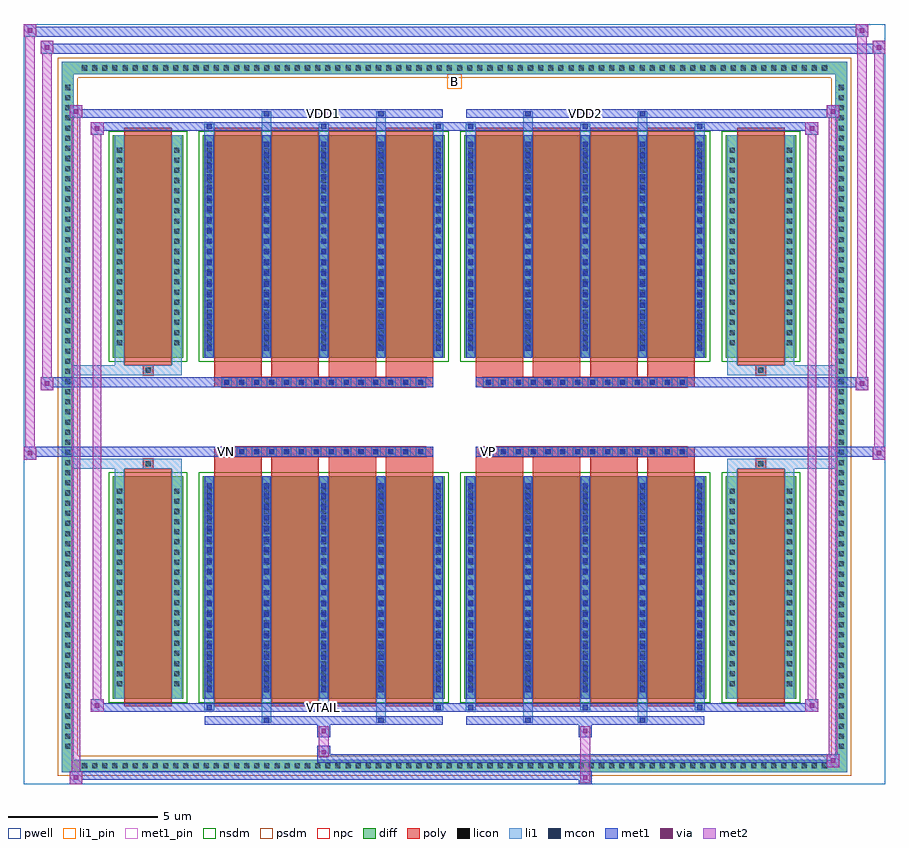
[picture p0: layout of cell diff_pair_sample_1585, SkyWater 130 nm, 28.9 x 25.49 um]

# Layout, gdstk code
import gdstk
lib = gdstk.Library(unit=1e-6, precision=5e-09)
def R(c, l, rs):  # rectangles x0, y0, x1, y1
    for r in rs: c.add(gdstk.rectangle(r[:2], r[2:], *l))
def A(c, l, x, y, w, h, nx, ny, dx, dy):  # array of equal rectangles
    R(c, l, [(x+i*dx, y+j*dy, x+i*dx+w, y+j*dy+h) for i in range(nx) for j in range(ny)])
def P(c, l, *ps):  # polygons
    for p in ps: c.add(gdstk.Polygon(p, *l))
pwell = (64, 44)
diff = (65, 20)
poly = (66, 20)
licon = (66, 44)
li1_pin = (67, 16)
li1 = (67, 20)
mcon = (67, 44)
met1_pin = (68, 16)
met1 = (68, 20)
via = (68, 44)
met2 = (69, 20)
nsdm = (93, 44)
psdm = (94, 20)
npc = (95, 20)

diff_pair_sample_1585 = lib.new_cell('diff_pair_sample_1585')
R(diff_pair_sample_1585, pwell, [(-14.45,-12.31,14.45,13.18), (-11.77,-10.5,-0.01,-0.8), (0.01,-10.5,11.77,-0.8), (-11.77,0.8,-0.01,10.5), (0.01,0.8,11.77,10.5)])
A(diff_pair_sample_1585, diff, -12.615, -11.91, 0.41, 0.41, 74, 2, 0.34, 23.41)
A(diff_pair_sample_1585, diff, -13.18, -11.255, 0.41, 0.41, 1, 66, 0, 0.34)
A(diff_pair_sample_1585, diff, 12.77, -11.255, 0.41, 0.41, 1, 66, 0, 0.34)
R(diff_pair_sample_1585, diff, [(-12.615,-11.91,12.615,-11.5), (-13.18,-11.255,-12.77,11.255), (12.77,-11.255,13.18,11.255), (-11.46,-9.455,-9.09,-1.985), (-8.45,-9.455,-0.32,-1.985), (0.32,-9.455,8.45,-1.985), (9.09,-9.455,11.46,-1.985), (-11.46,1.985,-9.09,9.455), (-8.45,1.985,-0.32,9.455), (0.32,1.985,8.45,9.455), (9.09,1.985,11.46,9.455), (-12.615,11.5,12.615,11.91)])
P(diff_pair_sample_1585, diff, [(13.18,11.91),(-13.18,11.91),(-13.18,-11.5),(-12.77,-11.5),(-12.77,11.5),(12.77,11.5),(12.77,-11.5),(-12.77,-11.5),(-13.18,-11.5),(-13.18,-11.91),(13.18,-11.91)])
A(diff_pair_sample_1585, poly, -8.06, -9.705, 1.59, 7.97, 4, 2, 1.92, 11.44)
A(diff_pair_sample_1585, poly, 0.71, -9.705, 1.59, 7.97, 4, 2, 1.92, 11.44)
A(diff_pair_sample_1585, poly, -8.06, -1.735, 1.59, 0.405, 4, 2, 1.92, 3.065)
A(diff_pair_sample_1585, poly, 0.71, -1.735, 1.59, 0.405, 4, 2, 1.92, 3.065)
A(diff_pair_sample_1585, poly, -7.8, -1.33, 0.33, 0.33, 14, 2, 0.5, 2.33)
A(diff_pair_sample_1585, poly, 0.97, -1.33, 0.33, 0.33, 14, 2, 0.5, 2.33)
R(diff_pair_sample_1585, poly, [(-11.07,-9.705,-9.48,-1.735), (9.48,-9.705,11.07,-1.735), (-10.44,-1.735,-10.11,-1.405), (-10.44,-1.735,-10.11,-1.405), (10.11,-1.735,10.44,-1.405), (10.11,-1.735,10.44,-1.405), (-8.06,-1.33,-0.71,-1), (0.71,-1.33,8.06,-1), (-8.06,1,-0.71,1.33), (0.71,1,8.06,1.33), (-10.44,1.405,-10.11,1.735), (-10.44,1.405,-10.11,1.735), (10.11,1.405,10.44,1.735), (10.11,1.405,10.44,1.735), (-11.07,1.735,-9.48,9.705), (9.48,1.735,11.07,9.705)])
A(diff_pair_sample_1585, licon, -12.495, -11.79, 0.17, 0.17, 74, 2, 0.34, 23.41)
A(diff_pair_sample_1585, licon, -13.06, -11.135, 0.17, 0.17, 1, 66, 0, 0.34)
A(diff_pair_sample_1585, licon, 12.89, -11.135, 0.17, 0.17, 1, 66, 0, 0.34)
A(diff_pair_sample_1585, licon, -11.32, -9.035, 0.17, 0.17, 1, 20, 0, 0.34)
A(diff_pair_sample_1585, licon, -9.4, -9.035, 0.17, 0.17, 1, 20, 0, 0.34)
A(diff_pair_sample_1585, licon, -8.31, -9.035, 0.17, 0.17, 5, 20, 1.92, 0.34)
A(diff_pair_sample_1585, licon, 0.46, -9.035, 0.17, 0.17, 5, 20, 1.92, 0.34)
A(diff_pair_sample_1585, licon, 9.23, -9.035, 0.17, 0.17, 1, 20, 0, 0.34)
A(diff_pair_sample_1585, licon, 11.15, -9.035, 0.17, 0.17, 1, 20, 0, 0.34)
A(diff_pair_sample_1585, licon, -7.72, -1.25, 0.17, 0.17, 14, 2, 0.5, 2.33)
A(diff_pair_sample_1585, licon, 1.05, -1.25, 0.17, 0.17, 14, 2, 0.5, 2.33)
A(diff_pair_sample_1585, licon, -11.32, 2.405, 0.17, 0.17, 1, 20, 0, 0.34)
A(diff_pair_sample_1585, licon, -9.4, 2.405, 0.17, 0.17, 1, 20, 0, 0.34)
A(diff_pair_sample_1585, licon, -8.31, 2.405, 0.17, 0.17, 5, 20, 1.92, 0.34)
A(diff_pair_sample_1585, licon, 0.46, 2.405, 0.17, 0.17, 5, 20, 1.92, 0.34)
A(diff_pair_sample_1585, licon, 9.23, 2.405, 0.17, 0.17, 1, 20, 0, 0.34)
A(diff_pair_sample_1585, licon, 11.15, 2.405, 0.17, 0.17, 1, 20, 0, 0.34)
R(diff_pair_sample_1585, licon, [(-10.36,-1.655,-10.19,-1.485), (10.19,-1.655,10.36,-1.485), (-10.36,1.485,-10.19,1.655), (10.19,1.485,10.36,1.655)])
R(diff_pair_sample_1585, li1_pin, [(-0.25,11,0.25,11.5)])
A(diff_pair_sample_1585, li1, -12.575, -11.87, 0.33, 0.33, 74, 2, 0.34, 23.41)
A(diff_pair_sample_1585, li1, -13.14, -11.215, 0.33, 0.33, 1, 66, 0, 0.34)
A(diff_pair_sample_1585, li1, 12.81, -11.215, 0.33, 0.33, 1, 66, 0, 0.34)
A(diff_pair_sample_1585, li1, -8.39, -9.83, 0.33, 0.375, 3, 2, 3.84, 19.285)
A(diff_pair_sample_1585, li1, -8.31, -9.83, 0.17, 0.17, 3, 2, 3.84, 19.49)
A(diff_pair_sample_1585, li1, 0.38, -9.83, 0.33, 0.375, 3, 2, 3.84, 19.285)
A(diff_pair_sample_1585, li1, 0.46, -9.83, 0.17, 0.17, 3, 2, 3.84, 19.49)
A(diff_pair_sample_1585, li1, -8.39, -9.455, 0.33, 7.47, 5, 2, 1.92, 11.44)
A(diff_pair_sample_1585, li1, 0.38, -9.455, 0.33, 7.47, 5, 2, 1.92, 11.44)
A(diff_pair_sample_1585, li1, -8.31, -9.225, 0.17, 0.17, 5, 20, 1.92, 0.36)
A(diff_pair_sample_1585, li1, -8.31, -9.225, 0.17, 7.01, 5, 2, 1.92, 11.44)
A(diff_pair_sample_1585, li1, 0.46, -9.225, 0.17, 0.17, 5, 20, 1.92, 0.36)
A(diff_pair_sample_1585, li1, 0.46, -9.225, 0.17, 7.01, 5, 2, 1.92, 11.44)
A(diff_pair_sample_1585, li1, -11.4, -9.115, 0.33, 0.33, 1, 20, 0, 0.34)
A(diff_pair_sample_1585, li1, -9.48, -9.115, 0.33, 0.33, 1, 20, 0, 0.34)
A(diff_pair_sample_1585, li1, -8.39, -9.115, 0.33, 0.33, 5, 20, 1.92, 0.34)
A(diff_pair_sample_1585, li1, 0.38, -9.115, 0.33, 0.33, 5, 20, 1.92, 0.34)
A(diff_pair_sample_1585, li1, 9.15, -9.115, 0.33, 0.33, 1, 20, 0, 0.34)
A(diff_pair_sample_1585, li1, 11.07, -9.115, 0.33, 0.33, 1, 20, 0, 0.34)
A(diff_pair_sample_1585, li1, -7.8, -1.33, 0.33, 0.33, 14, 2, 0.5, 2.33)
A(diff_pair_sample_1585, li1, 0.97, -1.33, 0.33, 0.33, 14, 2, 0.5, 2.33)
A(diff_pair_sample_1585, li1, -8.31, 2.215, 0.17, 0.17, 5, 20, 1.92, 0.36)
A(diff_pair_sample_1585, li1, 0.46, 2.215, 0.17, 0.17, 5, 20, 1.92, 0.36)
A(diff_pair_sample_1585, li1, -11.4, 2.325, 0.33, 0.33, 1, 20, 0, 0.34)
A(diff_pair_sample_1585, li1, -9.48, 2.325, 0.33, 0.33, 1, 20, 0, 0.34)
A(diff_pair_sample_1585, li1, -8.39, 2.325, 0.33, 0.33, 5, 20, 1.92, 0.34)
A(diff_pair_sample_1585, li1, 0.38, 2.325, 0.33, 0.33, 5, 20, 1.92, 0.34)
A(diff_pair_sample_1585, li1, 9.15, 2.325, 0.33, 0.33, 1, 20, 0, 0.34)
A(diff_pair_sample_1585, li1, 11.07, 2.325, 0.33, 0.33, 1, 20, 0, 0.34)
R(diff_pair_sample_1585, li1, [(-13.18,-11.91,-12.77,-11.5), (-13.18,-11.91,-12.77,-11.5), (-12.77,-11.91,12.77,-11.5), (12.77,-11.91,13.18,-11.5), (12.77,-11.91,13.18,-11.5), (-13.18,-11.5,-12.77,11.5), (12.77,-11.5,13.18,11.5), (-6.47,-10.26,-6.14,-9.455), (-6.39,-10.26,-6.22,-10.09), (-2.63,-10.26,-2.3,-9.455), (-2.55,-10.26,-2.38,-10.09), (2.3,-10.26,2.63,-9.455), (2.38,-10.26,2.55,-10.09), (6.14,-10.26,6.47,-9.455), (6.22,-10.26,6.39,-10.09), (-11.4,-9.455,-11.07,-1.985), (-9.48,-9.455,-9.15,-1.985), (9.15,-9.455,9.48,-1.985), (11.07,-9.455,11.4,-1.985), (-11.4,-1.985,-11.07,-1.405), (-9.48,-1.985,-9.15,-1.405), (9.15,-1.985,9.48,-1.405), (11.07,-1.985,11.4,-1.405), (-13.18,-1.735,-10.44,-1.405), (-11.4,-1.735,-10.44,-1.405), (-10.44,-1.735,-10.11,-1.405), (-10.11,-1.735,-9.15,-1.405), (9.15,-1.735,10.11,-1.405), (10.11,-1.735,10.44,-1.405), (10.11,-1.735,13.18,-1.405), (10.44,-1.735,11.4,-1.405), (-13.18,1.405,-10.44,1.735), (-11.4,1.405,-10.44,1.735), (-11.4,1.405,-11.07,1.985), (-10.44,1.405,-10.11,1.735), (-10.11,1.405,-9.15,1.735), (-9.48,1.405,-9.15,1.985), (9.15,1.405,10.11,1.735), (9.15,1.405,9.48,1.985), (10.11,1.405,10.44,1.735), (10.11,1.405,13.18,1.735), (10.44,1.405,11.4,1.735), (11.07,1.405,11.4,1.985), (-11.4,1.985,-11.07,9.455), (-9.48,1.985,-9.15,9.455), (9.15,1.985,9.48,9.455), (11.07,1.985,11.4,9.455), (-6.47,9.455,-6.14,10.26), (-2.63,9.455,-2.3,10.26), (2.3,9.455,2.63,10.26), (6.14,9.455,6.47,10.26), (-6.39,10.09,-6.22,10.26), (-2.55,10.09,-2.38,10.26), (2.38,10.09,2.55,10.26), (6.22,10.09,6.39,10.26), (-13.18,11.5,-12.77,11.91), (-13.18,11.5,-12.77,11.91), (-12.77,11.5,12.77,11.91), (12.77,11.5,13.18,11.91), (12.77,11.5,13.18,11.91)])
A(diff_pair_sample_1585, mcon, -8.31, -9.83, 0.17, 0.17, 3, 2, 3.84, 19.49)
A(diff_pair_sample_1585, mcon, 0.46, -9.83, 0.17, 0.17, 3, 2, 3.84, 19.49)
A(diff_pair_sample_1585, mcon, -8.31, -9.225, 0.17, 0.17, 5, 20, 1.92, 0.36)
A(diff_pair_sample_1585, mcon, 0.46, -9.225, 0.17, 0.17, 5, 20, 1.92, 0.36)
A(diff_pair_sample_1585, mcon, -7.72, -1.25, 0.17, 0.17, 14, 2, 0.5, 2.33)
A(diff_pair_sample_1585, mcon, 1.05, -1.25, 0.17, 0.17, 14, 2, 0.5, 2.33)
A(diff_pair_sample_1585, mcon, -8.31, 2.215, 0.17, 0.17, 5, 20, 1.92, 0.36)
A(diff_pair_sample_1585, mcon, 0.46, 2.215, 0.17, 0.17, 5, 20, 1.92, 0.36)
R(diff_pair_sample_1585, mcon, [(-6.39,-10.26,-6.22,-10.09), (-2.55,-10.26,-2.38,-10.09), (2.38,-10.26,2.55,-10.09), (6.22,-10.26,6.39,-10.09), (-6.39,10.09,-6.22,10.26), (-2.55,10.09,-2.38,10.26), (2.38,10.09,2.55,10.26), (6.22,10.09,6.39,10.26)])
R(diff_pair_sample_1585, met1_pin, [(-4.52,-9.87,-4.25,-9.6), (-7.77,-1.29,-7.5,-1.02), (1,-1.29,1.27,-1.02), (-4.52,10.05,-4.25,10.32), (4.25,10.05,4.52,10.32)])
A(diff_pair_sample_1585, met1, -8.37, -9.89, 0.29, 0.29, 3, 2, 3.84, 19.49)
A(diff_pair_sample_1585, met1, 0.4, -9.89, 0.29, 0.29, 3, 2, 3.84, 19.49)
A(diff_pair_sample_1585, met1, -8.37, -9.455, 0.29, 7.47, 5, 2, 1.92, 11.44)
A(diff_pair_sample_1585, met1, 0.4, -9.455, 0.29, 7.47, 5, 2, 1.92, 11.44)
A(diff_pair_sample_1585, met1, -8.37, -9.285, 0.29, 0.29, 5, 20, 1.92, 0.36)
A(diff_pair_sample_1585, met1, 0.4, -9.285, 0.29, 0.29, 5, 20, 1.92, 0.36)
A(diff_pair_sample_1585, met1, -7.78, -1.31, 0.29, 0.29, 14, 2, 0.5, 2.33)
A(diff_pair_sample_1585, met1, 0.99, -1.31, 0.29, 0.29, 14, 2, 0.5, 2.33)
A(diff_pair_sample_1585, met1, -8.37, 2.155, 0.29, 0.29, 5, 20, 1.92, 0.36)
A(diff_pair_sample_1585, met1, 0.4, 2.155, 0.29, 0.29, 5, 20, 1.92, 0.36)
R(diff_pair_sample_1585, met1, [(-12.91,-12.31,-12.48,-11.88), (4.17,-12.31,4.6,-11.88), (-12.91,-12.17,4.6,-11.88), (12.48,-11.74,12.91,-11.31), (-4.6,-11.6,12.91,-11.31), (-4.6,-11.46,-4.17,-11.03), (-4.6,-10.75,-4.17,-10.32), (4.17,-10.75,4.6,-10.32), (-8.37,-10.32,-0.4,-10.03), (-6.45,-10.32,-6.16,-10.03), (-2.61,-10.32,-2.32,-10.03), (0.4,-10.32,8.37,-10.03), (2.32,-10.32,2.61,-10.03), (6.16,-10.32,6.45,-10.03), (-12.2,-9.89,-11.77,-9.46), (-12.2,-9.89,-8.37,-9.6), (-8.37,-9.89,-0.4,-9.6), (-0.4,-9.89,0.4,-9.6), (0.4,-9.89,8.37,-9.6), (8.37,-9.89,12.2,-9.6), (11.77,-9.89,12.2,-9.46), (-14.45,-1.43,-14.02,-1), (14.02,-1.43,14.45,-1), (-14.45,-1.33,-0.71,-1), (-8.06,-1.33,-0.71,-1), (0.71,-1.33,8.06,-1), (0.71,-1.33,14.45,-1), (-13.88,0.9,-13.45,1.33), (13.45,0.9,13.88,1.33), (-13.88,1,-8.06,1.33), (-8.06,1,-0.71,1.33), (0.71,1,8.06,1.33), (8.06,1,13.88,1.33), (-12.2,9.46,-11.77,9.89), (11.77,9.46,12.2,9.89), (-12.2,9.6,-8.37,9.89), (-8.37,9.6,-0.4,9.89), (-0.4,9.6,0.4,9.89), (0.4,9.6,8.37,9.89), (8.37,9.6,12.2,9.89), (-12.91,10.03,-12.48,10.46), (-12.91,10.03,-8.37,10.32), (-8.37,10.03,-0.4,10.32), (-6.45,10.03,-6.16,10.32), (-2.61,10.03,-2.32,10.32), (0.4,10.03,8.37,10.32), (2.32,10.03,2.61,10.32), (6.16,10.03,6.45,10.32), (8.37,10.03,12.91,10.32), (12.48,10.03,12.91,10.46), (-13.88,12.18,-13.45,12.61), (-13.88,12.18,-11.77,12.51), (-11.77,12.18,11.77,12.51), (11.77,12.18,14.45,12.51), (14.02,12.18,14.45,12.61), (-14.45,12.75,-14.02,13.18), (-14.45,12.75,-11.77,13.08), (-11.77,12.75,11.77,13.08), (11.77,12.75,13.88,13.08), (13.45,12.75,13.88,13.18)])
R(diff_pair_sample_1585, via, [(-12.77,-12.17,-12.62,-12.02), (4.31,-12.17,4.46,-12.02), (12.62,-11.6,12.77,-11.45), (-4.46,-11.32,-4.31,-11.17), (-4.46,-10.61,-4.31,-10.46), (4.31,-10.61,4.46,-10.46), (-12.06,-9.75,-11.91,-9.6), (11.91,-9.75,12.06,-9.6), (-14.31,-1.29,-14.16,-1.14), (14.16,-1.29,14.31,-1.14), (-13.74,1.04,-13.59,1.19), (13.59,1.04,13.74,1.19), (-12.06,9.6,-11.91,9.75), (11.91,9.6,12.06,9.75), (-12.77,10.17,-12.62,10.32), (12.62,10.17,12.77,10.32), (-13.74,12.32,-13.59,12.47), (14.16,12.32,14.31,12.47), (-14.31,12.89,-14.16,13.04), (13.59,12.89,13.74,13.04)])
R(diff_pair_sample_1585, met2, [(-12.91,-12.31,-12.48,-11.88), (-12.84,-12.31,-12.55,10.46), (-12.55,-12.31,-12.48,-11.88), (-12.86,-12.26,-12.53,-11.93), (4.22,-12.26,4.55,-11.93), (4.22,-11.93,4.55,-10.7), (12.48,-11.74,12.91,-11.31), (12.55,-11.74,12.84,10.46), (12.84,-11.74,12.91,-11.31), (12.53,-11.69,12.86,-11.36), (-4.55,-11.41,-4.22,-11.08), (-4.55,-11.08,-4.22,-10.7), (-4.55,-10.7,-4.22,-10.37), (4.22,-10.7,4.55,-10.37), (-12.2,-9.89,-11.77,-9.46), (-12.13,-9.89,-11.84,9.89), (-11.84,-9.89,-11.77,-9.46), (11.77,-9.89,12.2,-9.46), (11.84,-9.89,12.13,9.89), (12.13,-9.89,12.2,-9.46), (-12.15,-9.84,-11.82,-9.51), (11.82,-9.84,12.15,-9.51), (-14.45,-1.43,-14.02,-1), (-14.4,-1.43,-14.07,13.18), (-14.07,-1.43,-14.02,-1), (14.02,-1.43,14.45,-1), (14.07,-1.43,14.4,12.61), (14.4,-1.43,14.45,-1), (-14.4,-1.38,-14.07,-1.05), (14.07,-1.38,14.4,-1.05), (-13.88,0.9,-13.45,1.33), (-13.83,0.9,-13.5,12.61), (-13.5,0.9,-13.45,1.33), (13.45,0.9,13.88,1.33), (13.5,0.9,13.83,13.18), (13.83,0.9,13.88,1.33), (-13.83,0.95,-13.5,1.28), (13.5,0.95,13.83,1.28), (-12.2,9.46,-11.77,9.89), (-11.84,9.46,-11.77,9.89), (11.77,9.46,12.2,9.89), (12.13,9.46,12.2,9.89), (-12.15,9.51,-11.82,9.84), (11.82,9.51,12.15,9.84), (-12.91,10.03,-12.48,10.46), (-12.55,10.03,-12.48,10.46), (12.48,10.03,12.91,10.46), (12.84,10.03,12.91,10.46), (-12.86,10.08,-12.53,10.41), (12.53,10.08,12.86,10.41), (-13.88,12.18,-13.45,12.61), (-13.5,12.18,-13.45,12.61), (14.02,12.18,14.45,12.61), (14.4,12.18,14.45,12.61), (-13.83,12.23,-13.5,12.56), (14.07,12.23,14.4,12.56), (-14.45,12.75,-14.02,13.18), (-14.07,12.75,-14.02,13.18), (13.45,12.75,13.88,13.18), (13.83,12.75,13.88,13.18), (-14.4,12.8,-14.07,13.13), (13.5,12.8,13.83,13.13)])
R(diff_pair_sample_1585, nsdm, [(-11.59,-9.585,-8.96,-1.855), (-8.58,-9.585,-0.19,-1.855), (0.19,-9.585,8.58,-1.855), (8.96,-9.585,11.59,-1.855), (-11.59,1.855,-8.96,9.585), (-8.58,1.855,-0.19,9.585), (0.19,1.855,8.58,9.585), (8.96,1.855,11.59,9.585)])
P(diff_pair_sample_1585, psdm, [(13.31,12.04),(-13.31,12.04),(-13.31,-11.37),(-12.64,-11.37),(-12.64,11.37),(12.64,11.37),(12.64,-11.37),(-12.64,-11.37),(-13.31,-11.37),(-13.31,-12.04),(13.31,-12.04)])
A(diff_pair_sample_1585, npc, -7.82, -1.35, 0.37, 0.37, 14, 2, 0.5, 2.33)
A(diff_pair_sample_1585, npc, 0.95, -1.35, 0.37, 0.37, 14, 2, 0.5, 2.33)
R(diff_pair_sample_1585, npc, [(-10.46,-1.755,-10.09,-1.385), (10.09,-1.755,10.46,-1.385), (-7.82,-1.35,-6.95,-0.98), (-7.82,-1.35,-6.95,-0.98), (-7.32,-1.35,-6.45,-0.98), (-7.32,-1.35,-6.45,-0.98), (-6.82,-1.35,-5.95,-0.98), (-6.82,-1.35,-5.95,-0.98), (-6.32,-1.35,-5.45,-0.98), (-6.32,-1.35,-5.45,-0.98), (-5.82,-1.35,-4.95,-0.98), (-5.82,-1.35,-4.95,-0.98), (-5.32,-1.35,-4.45,-0.98), (-5.32,-1.35,-4.45,-0.98), (-4.82,-1.35,-3.95,-0.98), (-4.82,-1.35,-3.95,-0.98), (-4.32,-1.35,-3.45,-0.98), (-4.32,-1.35,-3.45,-0.98), (-3.82,-1.35,-2.95,-0.98), (-3.82,-1.35,-2.95,-0.98), (-3.32,-1.35,-2.45,-0.98), (-3.32,-1.35,-2.45,-0.98), (-2.82,-1.35,-1.95,-0.98), (-2.82,-1.35,-1.95,-0.98), (-2.32,-1.35,-1.45,-0.98), (-2.32,-1.35,-1.45,-0.98), (-1.82,-1.35,-0.95,-0.98), (-1.82,-1.35,-0.95,-0.98), (0.95,-1.35,1.82,-0.98), (0.95,-1.35,1.82,-0.98), (1.45,-1.35,2.32,-0.98), (1.45,-1.35,2.32,-0.98), (1.95,-1.35,2.82,-0.98), (1.95,-1.35,2.82,-0.98), (2.45,-1.35,3.32,-0.98), (2.45,-1.35,3.32,-0.98), (2.95,-1.35,3.82,-0.98), (2.95,-1.35,3.82,-0.98), (3.45,-1.35,4.32,-0.98), (3.45,-1.35,4.32,-0.98), (3.95,-1.35,4.82,-0.98), (3.95,-1.35,4.82,-0.98), (4.45,-1.35,5.32,-0.98), (4.45,-1.35,5.32,-0.98), (4.95,-1.35,5.82,-0.98), (4.95,-1.35,5.82,-0.98), (5.45,-1.35,6.32,-0.98), (5.45,-1.35,6.32,-0.98), (5.95,-1.35,6.82,-0.98), (5.95,-1.35,6.82,-0.98), (6.45,-1.35,7.32,-0.98), (6.45,-1.35,7.32,-0.98), (6.95,-1.35,7.82,-0.98), (6.95,-1.35,7.82,-0.98), (-7.82,0.98,-6.95,1.35), (-7.82,0.98,-6.95,1.35), (-7.32,0.98,-6.45,1.35), (-7.32,0.98,-6.45,1.35), (-6.82,0.98,-5.95,1.35), (-6.82,0.98,-5.95,1.35), (-6.32,0.98,-5.45,1.35), (-6.32,0.98,-5.45,1.35), (-5.82,0.98,-4.95,1.35), (-5.82,0.98,-4.95,1.35), (-5.32,0.98,-4.45,1.35), (-5.32,0.98,-4.45,1.35), (-4.82,0.98,-3.95,1.35), (-4.82,0.98,-3.95,1.35), (-4.32,0.98,-3.45,1.35), (-4.32,0.98,-3.45,1.35), (-3.82,0.98,-2.95,1.35), (-3.82,0.98,-2.95,1.35), (-3.32,0.98,-2.45,1.35), (-3.32,0.98,-2.45,1.35), (-2.82,0.98,-1.95,1.35), (-2.82,0.98,-1.95,1.35), (-2.32,0.98,-1.45,1.35), (-2.32,0.98,-1.45,1.35), (-1.82,0.98,-0.95,1.35), (-1.82,0.98,-0.95,1.35), (0.95,0.98,1.82,1.35), (0.95,0.98,1.82,1.35), (1.45,0.98,2.32,1.35), (1.45,0.98,2.32,1.35), (1.95,0.98,2.82,1.35), (1.95,0.98,2.82,1.35), (2.45,0.98,3.32,1.35), (2.45,0.98,3.32,1.35), (2.95,0.98,3.82,1.35), (2.95,0.98,3.82,1.35), (3.45,0.98,4.32,1.35), (3.45,0.98,4.32,1.35), (3.95,0.98,4.82,1.35), (3.95,0.98,4.82,1.35), (4.45,0.98,5.32,1.35), (4.45,0.98,5.32,1.35), (4.95,0.98,5.82,1.35), (4.95,0.98,5.82,1.35), (5.45,0.98,6.32,1.35), (5.45,0.98,6.32,1.35), (5.95,0.98,6.82,1.35), (5.95,0.98,6.82,1.35), (6.45,0.98,7.32,1.35), (6.45,0.98,7.32,1.35), (6.95,0.98,7.82,1.35), (6.95,0.98,7.82,1.35), (-10.46,1.385,-10.09,1.755), (10.09,1.385,10.46,1.755)])
diff_pair_sample_1585.add(gdstk.Label('VTAIL', (-4.385,-9.735), layer=68, texttype=5))
diff_pair_sample_1585.add(gdstk.Label('VN', (-7.635,-1.155), layer=68, texttype=5))
diff_pair_sample_1585.add(gdstk.Label('VP', (1.135,-1.155), layer=68, texttype=5))
diff_pair_sample_1585.add(gdstk.Label('B', (0,11.25), layer=67, texttype=5))
diff_pair_sample_1585.add(gdstk.Label('VDD2', (4.385,10.185), layer=68, texttype=5))
diff_pair_sample_1585.add(gdstk.Label('VDD1', (-4.385,10.185), layer=68, texttype=5))

lib.write_gds('diff_pair_sample_1585.gds')
